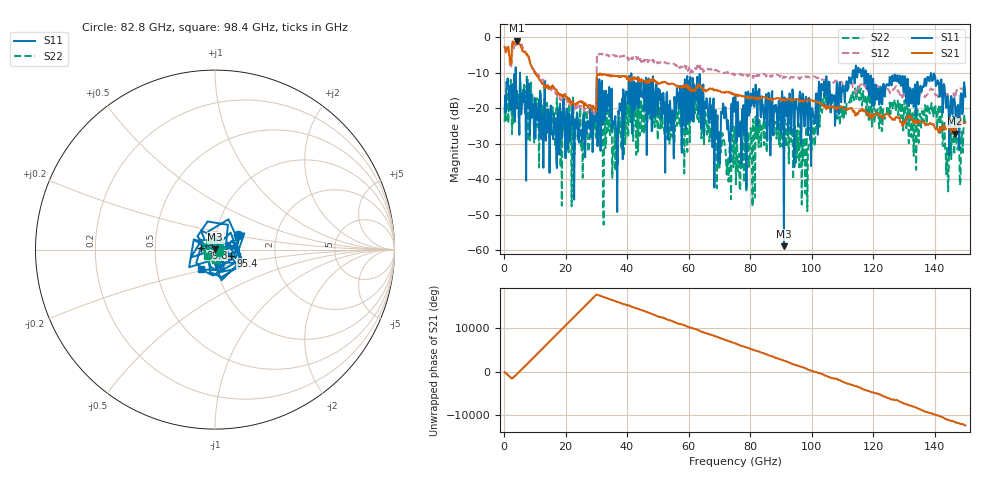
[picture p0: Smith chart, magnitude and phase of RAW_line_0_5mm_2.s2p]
!  2-Port S-parameters saved by WinCal
! VAR MeasName=S-Parameters (CALIBRATED_DATA) read from VNA (MS4647B)
! VAR MeasDate=27-Apr-22 15:02:29
! VAR NAME=RAW_line_0.5mm_2
! VAR FILENAME=RAW_line_0.5mm_2.S2P
! VAR DATE=27-Apr-22 15:02:29
! VAR PHYS_PORTS=1,2
! VAR ObjTypeName=DATASET
! VAR IndexType=Frequency
! VAR ChuckHeaterState=Unknown
! VAR ChuckTemp=NaN
! VAR ChuckTempUnits=Unknown
# Hz S RI R 50
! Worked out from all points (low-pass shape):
!   750 points, 200 MHz to 150 GHz, reference 50 ohm
!   highest |S21| = -0.94 dB at 4.2 GHz (marker M1); lowest = -27.2 dB at 146.6 GHz (marker M2)
!   |S21| within 3 dB of the highest: 687.6 MHz to 1.585 GHz (897.5 MHz wide, 79 % of centre); 2.538 GHz to 6.21 GHz (3.672 GHz wide, 84 % of centre)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
!   lowest |S11| = -58.9 dB at 91 GHz (marker M3), VSWR 1.00, Z = 50.1 + j0.101 ohm
!   |S11| at or under -10 dB: start of sweep to 3.78 GHz; 5.202 GHz to 113.3 GHz (108.1 GHz wide, 182 % of centre); 117.7 GHz to end of sweep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
!   |S22| runs from -52.8 to -11.1 dB; largest |S21 - S12| = 1.7
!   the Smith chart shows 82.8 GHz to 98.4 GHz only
!   S11 on the Smith chart (normalised r, x): 82.8 GHz: 1.27, +0.22; 89.8 GHz: 0.85, +0.02; 95.4 GHz: 1.19, -0.09; 98.4 GHz: 0.83, -0.18
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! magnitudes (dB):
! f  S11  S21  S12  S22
! 200 MHz  -21.2  -2.7  -2.6  -23.8
! 4.2 GHz  -15.8  -0.9  -1.5  -15.1
! 25.2 GHz  -26.5  -18.0  -19.7  -31.8
! 29.4 GHz  -22.5  -20.1  -21.7  -23.3
! 30.8 GHz  -12.6  -10.7  -4.9  -21.2
! 36.4 GHz  -26.1  -11.0  -5.4  -25.4
! 40.4 GHz  -18.8  -11.3  -6.3  -28.0
! 50.2 GHz  -14.5  -13.0  -7.4  -18.4
! 62.4 GHz  -17.8  -14.5  -9.0  -17.4
! 69.8 GHz  -26.7  -15.2  -9.7  -28.8
! 75.2 GHz  -16.6  -16.6  -10.6  -32.4
! 82.8 GHz  -16.3  -17.2  -10.8  -31.0
! 89.8 GHz  -21.9  -17.3  -11.0  -30.9
! 91 GHz  -58.9  -17.5  -11.1  -26.6
! 95.4 GHz  -20.4  -17.5  -11.4  -26.2
! 98.4 GHz  -17.4  -17.8  -11.3  -25.2
! 100.2 GHz  -20.0  -17.8  -11.1  -30.7
! 125.2 GHz  -13.6  -21.8  -15.0  -20.6
! 141.8 GHz  -16.3  -25.3  -16.0  -27.5
! 144 GHz  -17.4  -25.3  -15.9  -30.8
! 146.6 GHz  -18.5  -27.2  -17.2  -23.2
! 150 GHz  -16.8  -24.1  -14.8  -22.8
